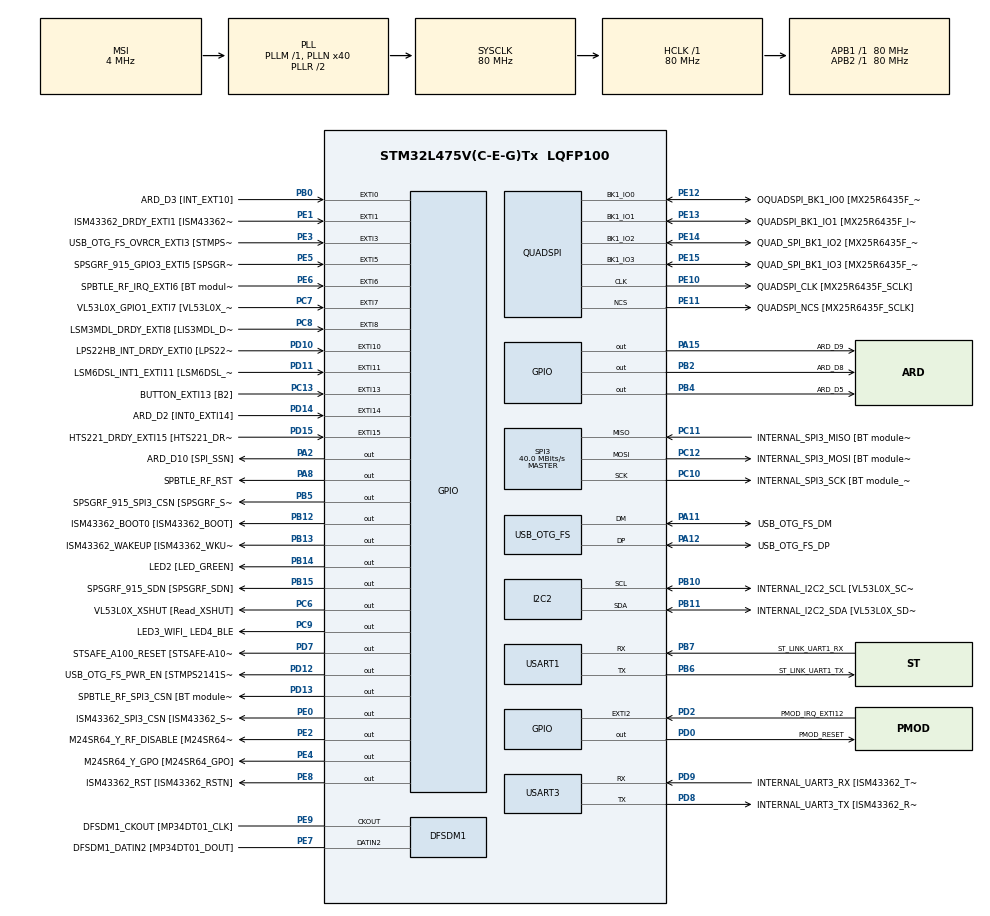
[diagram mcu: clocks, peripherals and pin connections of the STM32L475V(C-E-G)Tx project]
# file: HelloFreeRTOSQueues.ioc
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FREERTOS.Tasks01=defaultTask,0,128,StartDefaultTask,Default,NULL,Dynamic,NULL,NULL;myTask02,1,128,StartTask02,Default,NULL,Dynamic,NULL,NULL
Mcu.Family=STM32L4
Mcu.Name=STM32L475V(C-E-G)Tx
Mcu.Package=LQFP100
NVIC.EXTI15_10_IRQn=true\:5\:0\:false\:false\:true\:true\:true\:true
NVIC.EXTI9_5_IRQn=true\:5\:0\:false\:false\:true\:true\:true\:true
NVIC.PriorityGroup=NVIC_PRIORITYGROUP_4
PA0.GPIO_Label=ARD_D1 [UART4_TX]
PA0.Signal=UART4_TX
PA1.GPIO_Label=ARD_D0 [UART4_RX]
PA1.Signal=UART4_RX
PA10.GPIO_Label=USB_OTG_FS_ID
PA10.Signal=USB_OTG_FS_ID
PA11.GPIO_Label=USB_OTG_FS_DM
PA11.Mode=Device_Only
PA11.Signal=USB_OTG_FS_DM
PA12.GPIO_Label=USB_OTG_FS_DP
PA12.Mode=Device_Only
PA12.Signal=USB_OTG_FS_DP
PA13\ (JTMS-SWDIO).GPIO_Label=SYS_JTMS_SWDIO
PA13\ (JTMS-SWDIO).Mode=Serial_Wire
PA13\ (JTMS-SWDIO).Signal=SYS_JTMS-SWDIO
PA14\ (JTCK-SWCLK).GPIO_Label=SYS_JTCK_SWCLK
PA14\ (JTCK-SWCLK).Mode=Serial_Wire
PA14\ (JTCK-SWCLK).Signal=SYS_JTCK-SWCLK
PA15\ (JTDI).GPIO_Label=ARD_D9
PA15\ (JTDI).Signal=GPIO_Output
PA2.GPIO_Label=ARD_D10 [SPI_SSN]
PA2.Signal=GPIO_Output
PA3.GPIO_Label=ARD_D4
PA3.Signal=S_TIM2_CH4
PA4.GPIO_Label=ARD_D7
PA4.Signal=ADCx_IN9
PA5.GPIO_Label=ARD_D13 [SPI1_SCK]
PA5.Signal=SPI1_SCK
PA6.GPIO_Label=ARD_D12 [SPI1_MISO]
PA6.Signal=SPI1_MISO
PA7.GPIO_Label=ARD_D11 [SPI1_MOSI]
PA7.Signal=SPI1_MOSI
PA8.GPIO_Label=SPBTLE_RF_RST
PA8.Signal=GPIO_Output
PA9.GPIO_Label=USB_OTG_FS_VBUS [STMPS2141STR_OUT]
PA9.Signal=USB_OTG_FS_VBUS
PB0.GPIO_Label=ARD_D3 [INT_EXT10]
PB0.Signal=GPXTI0
PB1.GPIO_Label=ARD_D6 [ADC1_IN6]
PB1.Signal=ADCx_IN16
PB10.GPIO_Label=INTERNAL_I2C2_SCL [VL53L0X_SCL]
PB10.GPIO_Pu=GPIO_PULLUP
PB10.Mode=I2C
PB10.Signal=I2C2_SCL
PB11.GPIO_Label=INTERNAL_I2C2_SDA [VL53L0X_SDA]
PB11.GPIO_Pu=GPIO_PULLUP
PB11.Mode=I2C
PB11.Signal=I2C2_SDA
PB12.GPIO_Label=ISM43362_BOOT0 [ISM43362_BOOT]
PB12.Signal=GPIO_Output
PB13.GPIO_Label=ISM43362_WAKEUP [ISM43362_WKUP]
PB13.Signal=GPIO_Output
PB14.GPIO_Label=LED2 [LED_GREEN]
PB14.Signal=GPIO_Output
PB15.GPIO_Label=SPSGRF_915_SDN [SPSGRF_SDN]
PB15.Signal=GPIO_Output
PB2.GPIO_Label=ARD_D8
PB2.Signal=GPIO_Output
PB3\ (JTDO-TRACESWO).GPIO_Label=SYS_JTD0_SWO
PB3\ (JTDO-TRACESWO).Signal=SYS_JTDO-SWO
PB4\ (NJTRST).GPIO_Label=ARD_D5
PB4\ (NJTRST).Signal=GPIO_Output
PB5.GPIO_Label=SPSGRF_915_SPI3_CSN [SPSGRF_SPI_CS]
PB5.PinState=GPIO_PIN_SET
PB5.Signal=GPIO_Output
PB6.GPIO_Label=ST_LINK_UART1_TX
PB6.Mode=Asynchronous
PB6.Signal=USART1_TX
PB7.GPIO_Label=ST_LINK_UART1_RX
PB7.Mode=Asynchronous
PB7.Signal=USART1_RX
PB8.GPIO_Label=ARD_D15 [I2C1_SCL]
PB8.Signal=I2C1_SCL
PB9.GPIO_Label=ARD_D14 [I2C1_SDA]
PB9.Signal=I2C1_SDA
PC0.GPIO_Label=ARD_A5 [ADC]
PC0.Signal=ADCx_IN1
PC1.GPIO_Label=ARD_A4 [ADC]
PC1.Signal=ADCx_IN2
PC10.GPIO_Label=INTERNAL_SPI3_SCK [BT module_SPI_SCLK] [ISM43362_SCK]
PC10.Mode=Full_Duplex_Master
PC10.Signal=SPI3_SCK
PC11.GPIO_Label=INTERNAL_SPI3_MISO [BT module_SPI_MISO] [ISM43362_MISO]
PC11.Mode=Full_Duplex_Master
PC11.Signal=SPI3_MISO
PC12.GPIO_Label=INTERNAL_SPI3_MOSI [BT module_SPI_MOSI] [ISM43362_MOSI]
PC12.Mode=Full_Duplex_Master
PC12.Signal=SPI3_MOSI
PC13.GPIO_Label=BUTTON_EXTI13 [B2]
PC13.GPIO_ModeDefaultEXTI=GPIO_MODE_IT_FALLING
PC13.Signal=GPXTI13
PC14-OSC32_IN\ (PC14).Mode=LSE-External-Oscillator
PC14-OSC32_IN\ (PC14).Signal=RCC_OSC32_IN
PC15-OSC32_OUT\ (PC15).Mode=LSE-External-Oscillator
PC15-OSC32_OUT\ (PC15).Signal=RCC_OSC32_OUT
PC2.GPIO_Label=ARD_A3 [ADC]
PC2.Signal=ADCx_IN3
PC3.GPIO_Label=ARD_A2 [ADC]
PC3.Signal=ADCx_IN4
PC4.GPIO_Label=ARD_A1 [ADC]
PC4.Signal=ADCx_IN13
PC5.GPIO_Label=ARD_A0 [ADC]
PC5.Signal=ADCx_IN14
PC6.GPIO_Label=VL53L0X_XSHUT [Read_XSHUT]
PC6.Signal=GPIO_Output
PC7.GPIO_Label=VL53L0X_GPIO1_EXTI7 [VL53L0X_GPIO1]
PC7.Signal=GPXTI7
PC8.GPIO_Label=LSM3MDL_DRDY_EXTI8 [LIS3MDL_DRDY]
PC8.Signal=GPXTI8
PC9.GPIO_Label=LED3_WIFI_ LED4_BLE
PC9.Signal=GPIO_Output
PD0.GPIO_Label=PMOD_RESET
PD0.Signal=GPIO_Output
PD1.GPIO_Label=PMOD_SPI2_SCK
PD1.Signal=SPI2_SCK
PD10.GPIO_Label=LPS22HB_INT_DRDY_EXTI0 [LPS22HB_INT_DRDY] 
PD10.Signal=GPXTI10
PD11.GPIO_Label=LSM6DSL_INT1_EXTI11 [LSM6DSL_INT1]
PD11.Signal=GPXTI11
PD12.GPIO_Label=USB_OTG_FS_PWR_EN [STMPS2141STR_EN]
PD12.Signal=GPIO_Output
PD13.GPIO_Label=SPBTLE_RF_SPI3_CSN [BT module_SPI_CS]
PD13.PinState=GPIO_PIN_SET
PD13.Signal=GPIO_Output
PD14.GPIO_Label=ARD_D2 [INT0_EXTI14]
PD14.Signal=GPXTI14
PD15.GPIO_Label=HTS221_DRDY_EXTI15 [HTS221_DRDY]
PD15.Signal=GPXTI15
PD2.GPIO_Label=PMOD_IRQ_EXTI12
PD2.Signal=GPXTI2
PD3.GPIO_Label=PMOD_UART2_CTS
PD3.Signal=USART2_CTS
PD4.GPIO_Label=PMOD_UART2_RTS
PD4.Signal=USART2_RTS
PD5.GPIO_Label=PMOD_UART2_TX
PD5.Signal=USART2_TX
PD6.GPIO_Label=PMOD_UART2_RX
PD6.Signal=USART2_RX
PD7.GPIO_Label=STSAFE_A100_RESET [STSAFE-A100_RESET]
PD7.Signal=GPIO_Output
PD8.GPIO_Label=INTERNAL_UART3_TX [ISM43362_RX]
PD8.Mode=Asynchronous
PD8.Signal=USART3_TX
PD9.GPIO_Label=INTERNAL_UART3_RX [ISM43362_TX]
PD9.Mode=Asynchronous
PD9.Signal=USART3_RX
PE0.GPIO_Label=ISM43362_SPI3_CSN [ISM43362_SSN]
PE0.PinState=GPIO_PIN_SET
PE0.Signal=GPIO_Output
PE1.GPIO_Label=ISM43362_DRDY_EXTI1 [ISM43362_DATARDY]
PE1.Signal=GPXTI1
PE10.GPIO_Label=QUADSPI_CLK [MX25R6435F_SCLK]
PE10.Mode=Single Bank
PE10.Signal=QUADSPI_CLK
PE11.GPIO_Label=QUADSPI_NCS [MX25R6435F_SCLK]
PE11.Mode=Single Bank
PE11.Signal=QUADSPI_NCS
PE12.GPIO_Label=OQUADSPI_BK1_IO0 [MX25R6435F_IO0]
PE12.Mode=Single Bank
PE12.Signal=QUADSPI_BK1_IO0
PE13.GPIO_Label=QUADSPI_BK1_IO1 [MX25R6435F_IO1]
PE13.Mode=Single Bank
PE13.Signal=QUADSPI_BK1_IO1
PE14.GPIO_Label=QUAD_SPI_BK1_IO2 [MX25R6435F_IO2]
PE14.Mode=Single Bank
PE14.Signal=QUADSPI_BK1_IO2
PE15.GPIO_Label=QUAD_SPI_BK1_IO3 [MX25R6435F_IO3]
PE15.Mode=Single Bank
PE15.Signal=QUADSPI_BK1_IO3
PE2.GPIO_Label=M24SR64_Y_RF_DISABLE [M24SR64_RFDIS]
PE2.Signal=GPIO_Output
PE3.GPIO_Label=USB_OTG_FS_OVRCR_EXTI3 [STMPS2141STR_FAULT]
PE3.Signal=GPXTI3
PE4.GPIO_Label=M24SR64_Y_GPO [M24SR64_GPO]
PE4.Signal=GPIO_Output
PE5.GPIO_Label=SPSGRF_915_GPIO3_EXTI5 [SPSGRF_GPIO_3]
PE5.Signal=GPXTI5
PE6.GPIO_Label=SPBTLE_RF_IRQ_EXTI6 [BT module_SPI_IRQ]
PE6.Signal=GPXTI6
PE7.GPIO_Label=DFSDM1_DATIN2 [MP34DT01_DOUT]
PE7.Signal=S_DATAIN2DFSDM1
PE8.GPIO_Label=ISM43362_RST [ISM43362_RSTN]
PE8.Signal=GPIO_Output
PE9.GPIO_Label=DFSDM1_CKOUT [MP34DT01_CLK]
PE9.Signal=S_CKOUTDFSDM1
ProjectManager.HeapSize=0x200
ProjectManager.StackSize=0x400
ProjectManager.TargetToolchain=STM32CubeIDE
QUADSPI.ClockPrescaler=2
QUADSPI.FifoThreshold=4
QUADSPI.FlashSize=23
QUADSPI.SampleShifting=QSPI_SAMPLE_SHIFTING_HALFCYCLE
RCC.ADCFreq_Value=48000000
RCC.AHBFreq_Value=80000000
RCC.APB1Freq_Value=80000000
RCC.APB1TimFreq_Value=80000000
RCC.APB2Freq_Value=80000000
RCC.APB2TimFreq_Value=80000000
RCC.CortexFreq_Value=80000000
RCC.HCLKFreq_Value=80000000
RCC.HSE_VALUE=8000000
RCC.HSI_VALUE=16000000
RCC.MSI_VALUE=4000000
RCC.PLLN=40
RCC.PLLSAI1N=24
RCC.SYSCLKFreq_VALUE=80000000
RCC.SYSCLKSource=RCC_SYSCLKSOURCE_PLLCLK
RCC.USBFreq_Value=48000000
RCC.VCOOutputFreq_Value=160000000
SH.ADCx_IN1.0=ADC1_IN1
SH.ADCx_IN13.0=ADC1_IN13
SH.ADCx_IN14.0=ADC1_IN14
SH.ADCx_IN16.0=ADC1_IN16
SH.ADCx_IN2.0=ADC1_IN2
SH.ADCx_IN3.0=ADC1_IN3
SH.ADCx_IN4.0=ADC1_IN4
SH.ADCx_IN9.0=ADC1_IN9
SH.S_CKOUTDFSDM1.0=DFSDM1_CKOUT,CKOUT
SH.S_CKOUTDFSDM1.1=DFSDM1_CKOUT,PDM_SPI_Input_from_ch12_and_Internal_Clock
SH.S_DATAIN2DFSDM1.0=DFSDM1_DATIN2,PDM_SPI_Input_from_ch12_and_Internal_Clock
SH.S_TIM2_CH4.0=TIM2_CH4
SPI3.CalculateBaudRate=40.0 MBits/s
SPI3.Direction=SPI_DIRECTION_2LINES
SPI3.Mode=SPI_MODE_MASTER
SPI3.VirtualType=VM_MASTER
USART1.VirtualMode-Asynchronous=VM_ASYNC
USART3.VirtualMode-Asynchronous=VM_ASYNC
USB_OTG_FS.VirtualMode=Device_Only
VP_FREERTOS_VS_CMSIS_V1.Mode=CMSIS_V1
board=B-L475E-IOT01A1

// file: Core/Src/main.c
/* USER CODE BEGIN Header */
/**
 ******************************************************************************
 * @file           : main.c
 * @brief          : Main program body
 ******************************************************************************
 * @attention
 *
 * <h2><center>&copy; Copyright (c) 2021 STMicroelectronics.
 * All rights reserved.</center></h2>
 *
 * This software component is licensed by ST under BSD 3-Clause license,
 * the "License"; You may not use this file except in compliance with the
 * License. You may obtain a copy of the License at:
 *                        opensource.org/licenses/BSD-3-Clause
 *
 ******************************************************************************
 */
/* USER CODE END Header */
#include "main.h"
#include "cmsis_os.h"

/* USER CODE BEGIN Includes */
#include <string.h>
#include <stdio.h>
/* USER CODE END Includes */

DFSDM_Channel_HandleTypeDef hdfsdm1_channel1;

I2C_HandleTypeDef hi2c2;

QSPI_HandleTypeDef hqspi;

SPI_HandleTypeDef hspi3;

UART_HandleTypeDef huart1;
UART_HandleTypeDef huart3;

PCD_HandleTypeDef hpcd_USB_OTG_FS;

osThreadId defaultTaskHandle;
osThreadId myTask02Handle;
/* USER CODE BEGIN PV */

QueueHandle_t xQueue;

/* USER CODE END PV */

void SystemClock_Config(void);
static void MX_GPIO_Init(void);
static void MX_DFSDM1_Init(void);
static void MX_I2C2_Init(void);
static void MX_QUADSPI_Init(void);
static void MX_SPI3_Init(void);
static void MX_USART1_UART_Init(void);
static void MX_USART3_UART_Init(void);
static void MX_USB_OTG_FS_PCD_Init(void);
void StartDefaultTask(void const *argument);
void StartTask02(void const *argument);

int main(void) {

    /* MCU Configuration--------------------------------------------------------*/

    /* Reset of all peripherals, Initializes the Flash interface and the Systick. */
    HAL_Init();

    /* Configure the system clock */
    SystemClock_Config();

    /* Initialize all configured peripherals */
    MX_GPIO_Init();
    MX_DFSDM1_Init();
    MX_I2C2_Init();
    MX_QUADSPI_Init();
    MX_SPI3_Init();
    MX_USART1_UART_Init();
    MX_USART3_UART_Init();
    MX_USB_OTG_FS_PCD_Init();

    /* USER CODE BEGIN RTOS_QUEUES */
    /* add queues, ... */

    xQueue = xQueueCreate(5, sizeof(uint32_t));

    /* USER CODE END RTOS_QUEUES */

    /* Create the thread(s) */
    /* definition and creation of defaultTask */
    osThreadDef(defaultTask, StartDefaultTask, osPriorityNormal, 0, 128);
    defaultTaskHandle = osThreadCreate(osThread(defaultTask), NULL);

    /* definition and creation of myTask02 */
    osThreadDef(myTask02, StartTask02, osPriorityAboveNormal, 0, 128);
    myTask02Handle = osThreadCreate(osThread(myTask02), NULL);

    /* Start scheduler */
    osKernelStart();

    /* We should never get here as control is now taken by the scheduler */
    /* Infinite loop */
    while (1) {

    }
}

void SystemClock_Config(void) {
    RCC_OscInitTypeDef RCC_OscInitStruct = { 0 };
    RCC_ClkInitTypeDef RCC_ClkInitStruct = { 0 };

    /** Configure the main internal regulator output voltage
     */
    if (HAL_PWREx_ControlVoltageScaling(PWR_REGULATOR_VOLTAGE_SCALE1) != HAL_OK) {
        Error_Handler();
    }
    /** Configure LSE Drive Capability
     */
    HAL_PWR_EnableBkUpAccess();
    __HAL_RCC_LSEDRIVE_CONFIG(RCC_LSEDRIVE_LOW);
    /** Initializes the RCC Oscillators according to the specified parameters
     * in the RCC_OscInitTypeDef structure.
     */
    RCC_OscInitStruct.OscillatorType = RCC_OSCILLATORTYPE_LSE | RCC_OSCILLATORTYPE_MSI;
    RCC_OscInitStruct.LSEState = RCC_LSE_ON;
    RCC_OscInitStruct.MSIState = RCC_MSI_ON;
    RCC_OscInitStruct.MSICalibrationValue = 0;
    RCC_OscInitStruct.MSIClockRange = RCC_MSIRANGE_6;
    RCC_OscInitStruct.PLL.PLLState = RCC_PLL_ON;
    RCC_OscInitStruct.PLL.PLLSource = RCC_PLLSOURCE_MSI;
    RCC_OscInitStruct.PLL.PLLM = 1;
    RCC_OscInitStruct.PLL.PLLN = 40;
    RCC_OscInitStruct.PLL.PLLP = RCC_PLLP_DIV7;
    RCC_OscInitStruct.PLL.PLLQ = RCC_PLLQ_DIV2;
    RCC_OscInitStruct.PLL.PLLR = RCC_PLLR_DIV2;
    if (HAL_RCC_OscConfig(&RCC_OscInitStruct) != HAL_OK) {
        Error_Handler();
    }
    /** Initializes the CPU, AHB and APB buses clocks
     */
    RCC_ClkInitStruct.ClockType = RCC_CLOCKTYPE_HCLK | RCC_CLOCKTYPE_SYSCLK | RCC_CLOCKTYPE_PCLK1 | RCC_CLOCKTYPE_PCLK2;
    RCC_ClkInitStruct.SYSCLKSource = RCC_SYSCLKSOURCE_PLLCLK;
    RCC_ClkInitStruct.AHBCLKDivider = RCC_SYSCLK_DIV1;
    RCC_ClkInitStruct.APB1CLKDivider = RCC_HCLK_DIV1;
    RCC_ClkInitStruct.APB2CLKDivider = RCC_HCLK_DIV1;

    if (HAL_RCC_ClockConfig(&RCC_ClkInitStruct, FLASH_LATENCY_4) != HAL_OK) {
        Error_Handler();
    }
    /** Enable MSI Auto calibration
     */
    HAL_RCCEx_EnableMSIPLLMode();
}

static void MX_DFSDM1_Init(void) {

    hdfsdm1_channel1.Instance = DFSDM1_Channel1;
    hdfsdm1_channel1.Init.OutputClock.Activation = ENABLE;
    hdfsdm1_channel1.Init.OutputClock.Selection = DFSDM_CHANNEL_OUTPUT_CLOCK_SYSTEM;
    hdfsdm1_channel1.Init.OutputClock.Divider = 2;
    hdfsdm1_channel1.Init.Input.Multiplexer = DFSDM_CHANNEL_EXTERNAL_INPUTS;
    hdfsdm1_channel1.Init.Input.DataPacking = DFSDM_CHANNEL_STANDARD_MODE;
    hdfsdm1_channel1.Init.Input.Pins = DFSDM_CHANNEL_FOLLOWING_CHANNEL_PINS;
    hdfsdm1_channel1.Init.SerialInterface.Type = DFSDM_CHANNEL_SPI_RISING;
    hdfsdm1_channel1.Init.SerialInterface.SpiClock = DFSDM_CHANNEL_SPI_CLOCK_INTERNAL;
    hdfsdm1_channel1.Init.Awd.FilterOrder = DFSDM_CHANNEL_FASTSINC_ORDER;
    hdfsdm1_channel1.Init.Awd.Oversampling = 1;
    hdfsdm1_channel1.Init.Offset = 0;
    hdfsdm1_channel1.Init.RightBitShift = 0x00;
    if (HAL_DFSDM_ChannelInit(&hdfsdm1_channel1) != HAL_OK) {
        Error_Handler();
    }

}

static void MX_I2C2_Init(void) {

    hi2c2.Instance = I2C2;
    hi2c2.Init.Timing = 0x00000E14;
    hi2c2.Init.OwnAddress1 = 0;
    hi2c2.Init.AddressingMode = I2C_ADDRESSINGMODE_7BIT;
    hi2c2.Init.DualAddressMode = I2C_DUALADDRESS_DISABLE;
    hi2c2.Init.OwnAddress2 = 0;
    hi2c2.Init.OwnAddress2Masks = I2C_OA2_NOMASK;
    hi2c2.Init.GeneralCallMode = I2C_GENERALCALL_DISABLE;
    hi2c2.Init.NoStretchMode = I2C_NOSTRETCH_DISABLE;
    if (HAL_I2C_Init(&hi2c2) != HAL_OK) {
        Error_Handler();
    }
    /** Configure Analogue filter
     */
    if (HAL_I2CEx_ConfigAnalogFilter(&hi2c2, I2C_ANALOGFILTER_ENABLE) != HAL_OK) {
        Error_Handler();
    }
    /** Configure Digital filter
     */
    if (HAL_I2CEx_ConfigDigitalFilter(&hi2c2, 0) != HAL_OK) {
        Error_Handler();
    }

}

static void MX_QUADSPI_Init(void) {

    /* QUADSPI parameter configuration*/
    hqspi.Instance = QUADSPI;
    hqspi.Init.ClockPrescaler = 2;
    hqspi.Init.FifoThreshold = 4;
    hqspi.Init.SampleShifting = QSPI_SAMPLE_SHIFTING_HALFCYCLE;
    hqspi.Init.FlashSize = 23;
    hqspi.Init.ChipSelectHighTime = QSPI_CS_HIGH_TIME_1_CYCLE;
    hqspi.Init.ClockMode = QSPI_CLOCK_MODE_0;
    if (HAL_QSPI_Init(&hqspi) != HAL_OK) {
        Error_Handler();
    }

}

static void MX_SPI3_Init(void) {

    /* SPI3 parameter configuration*/
    hspi3.Instance = SPI3;
    hspi3.Init.Mode = SPI_MODE_MASTER;
    hspi3.Init.Direction = SPI_DIRECTION_2LINES;
    hspi3.Init.DataSize = SPI_DATASIZE_4BIT;
    hspi3.Init.CLKPolarity = SPI_POLARITY_LOW;
    hspi3.Init.CLKPhase = SPI_PHASE_1EDGE;
    hspi3.Init.NSS = SPI_NSS_SOFT;
    hspi3.Init.BaudRatePrescaler = SPI_BAUDRATEPRESCALER_2;
    hspi3.Init.FirstBit = SPI_FIRSTBIT_MSB;
    hspi3.Init.TIMode = SPI_TIMODE_DISABLE;
    hspi3.Init.CRCCalculation = SPI_CRCCALCULATION_DISABLE;
    hspi3.Init.CRCPolynomial = 7;
    hspi3.Init.CRCLength = SPI_CRC_LENGTH_DATASIZE;
    hspi3.Init.NSSPMode = SPI_NSS_PULSE_ENABLE;
    if (HAL_SPI_Init(&hspi3) != HAL_OK) {
        Error_Handler();
    }

}

static void MX_USART1_UART_Init(void) {

    huart1.Instance = USART1;
    huart1.Init.BaudRate = 115200;
    huart1.Init.WordLength = UART_WORDLENGTH_8B;
    huart1.Init.StopBits = UART_STOPBITS_1;
    huart1.Init.Parity = UART_PARITY_NONE;
    huart1.Init.Mode = UART_MODE_TX_RX;
    huart1.Init.HwFlowCtl = UART_HWCONTROL_NONE;
    huart1.Init.OverSampling = UART_OVERSAMPLING_16;
    huart1.Init.OneBitSampling = UART_ONE_BIT_SAMPLE_DISABLE;
    huart1.AdvancedInit.AdvFeatureInit = UART_ADVFEATURE_NO_INIT;
    if (HAL_UART_Init(&huart1) != HAL_OK) {
        Error_Handler();
    }

}

static void MX_USART3_UART_Init(void) {

    huart3.Instance = USART3;
    huart3.Init.BaudRate = 115200;
    huart3.Init.WordLength = UART_WORDLENGTH_8B;
    huart3.Init.StopBits = UART_STOPBITS_1;
    huart3.Init.Parity = UART_PARITY_NONE;
    huart3.Init.Mode = UART_MODE_TX_RX;
    huart3.Init.HwFlowCtl = UART_HWCONTROL_NONE;
    huart3.Init.OverSampling = UART_OVERSAMPLING_16;
    huart3.Init.OneBitSampling = UART_ONE_BIT_SAMPLE_DISABLE;
    huart3.AdvancedInit.AdvFeatureInit = UART_ADVFEATURE_NO_INIT;
    if (HAL_UART_Init(&huart3) != HAL_OK) {
        Error_Handler();
    }

}

static void MX_USB_OTG_FS_PCD_Init(void) {

    hpcd_USB_OTG_FS.Instance = USB_OTG_FS;
    hpcd_USB_OTG_FS.Init.dev_endpoints = 6;
    hpcd_USB_OTG_FS.Init.speed = PCD_SPEED_FULL;
    hpcd_USB_OTG_FS.Init.phy_itface = PCD_PHY_EMBEDDED;
    hpcd_USB_OTG_FS.Init.Sof_enable = DISABLE;
    hpcd_USB_OTG_FS.Init.low_power_enable = DISABLE;
    hpcd_USB_OTG_FS.Init.lpm_enable = DISABLE;
    hpcd_USB_OTG_FS.Init.battery_charging_enable = DISABLE;
    hpcd_USB_OTG_FS.Init.use_dedicated_ep1 = DISABLE;
    hpcd_USB_OTG_FS.Init.vbus_sensing_enable = DISABLE;
    if (HAL_PCD_Init(&hpcd_USB_OTG_FS) != HAL_OK) {
        Error_Handler();
    }

}

static void MX_GPIO_Init(void) {
    GPIO_InitTypeDef GPIO_InitStruct = { 0 };

    /* GPIO Ports Clock Enable */
    __HAL_RCC_GPIOE_CLK_ENABLE();
    __HAL_RCC_GPIOC_CLK_ENABLE();
    __HAL_RCC_GPIOA_CLK_ENABLE();
    __HAL_RCC_GPIOB_CLK_ENABLE();
    __HAL_RCC_GPIOD_CLK_ENABLE();

    /*Configure GPIO pin Output Level */
    HAL_GPIO_WritePin(GPIOE, M24SR64_Y_RF_DISABLE_Pin | M24SR64_Y_GPO_Pin | ISM43362_RST_Pin, GPIO_PIN_RESET);

    /*Configure GPIO pin Output Level */
    HAL_GPIO_WritePin(GPIOA, ARD_D10_Pin | SPBTLE_RF_RST_Pin | ARD_D9_Pin, GPIO_PIN_RESET);

    /*Configure GPIO pin Output Level */
    HAL_GPIO_WritePin(GPIOB,
    ARD_D8_Pin | ISM43362_BOOT0_Pin | ISM43362_WAKEUP_Pin | LED2_Pin | SPSGRF_915_SDN_Pin | ARD_D5_Pin, GPIO_PIN_RESET);

    /*Configure GPIO pin Output Level */
    HAL_GPIO_WritePin(GPIOD, USB_OTG_FS_PWR_EN_Pin | PMOD_RESET_Pin | STSAFE_A100_RESET_Pin, GPIO_PIN_RESET);

    /*Configure GPIO pin Output Level */
    HAL_GPIO_WritePin(SPBTLE_RF_SPI3_CSN_GPIO_Port, SPBTLE_RF_SPI3_CSN_Pin, GPIO_PIN_SET);

    /*Configure GPIO pin Output Level */
    HAL_GPIO_WritePin(GPIOC, VL53L0X_XSHUT_Pin | LED3_WIFI__LED4_BLE_Pin, GPIO_PIN_RESET);

    /*Configure GPIO pin Output Level */
    HAL_GPIO_WritePin(SPSGRF_915_SPI3_CSN_GPIO_Port, SPSGRF_915_SPI3_CSN_Pin, GPIO_PIN_SET);

    /*Configure GPIO pin Output Level */
    HAL_GPIO_WritePin(ISM43362_SPI3_CSN_GPIO_Port, ISM43362_SPI3_CSN_Pin, GPIO_PIN_SET);

    /*Configure GPIO pins : M24SR64_Y_RF_DISABLE_Pin M24SR64_Y_GPO_Pin ISM43362_RST_Pin ISM43362_SPI3_CSN_Pin */
    GPIO_InitStruct.Pin = M24SR64_Y_RF_DISABLE_Pin | M24SR64_Y_GPO_Pin | ISM43362_RST_Pin | ISM43362_SPI3_CSN_Pin;
    GPIO_InitStruct.Mode = GPIO_MODE_OUTPUT_PP;
    GPIO_InitStruct.Pull = GPIO_NOPULL;
    GPIO_InitStruct.Speed = GPIO_SPEED_FREQ_LOW;
    HAL_GPIO_Init(GPIOE, &GPIO_InitStruct);

    /*Configure GPIO pins : USB_OTG_FS_OVRCR_EXTI3_Pin SPSGRF_915_GPIO3_EXTI5_Pin SPBTLE_RF_IRQ_EXTI6_Pin ISM43362_DRDY_EXTI1_Pin */
    GPIO_InitStruct.Pin = USB_OTG_FS_OVRCR_EXTI3_Pin | SPSGRF_915_GPIO3_EXTI5_Pin | SPBTLE_RF_IRQ_EXTI6_Pin
            | ISM43362_DRDY_EXTI1_Pin;
    GPIO_InitStruct.Mode = GPIO_MODE_IT_RISING;
    GPIO_InitStruct.Pull = GPIO_NOPULL;
    HAL_GPIO_Init(GPIOE, &GPIO_InitStruct);

    /*Configure GPIO pin : BUTTON_EXTI13_Pin */
    GPIO_InitStruct.Pin = BUTTON_EXTI13_Pin;
    GPIO_InitStruct.Mode = GPIO_MODE_IT_FALLING;
    GPIO_InitStruct.Pull = GPIO_NOPULL;
    HAL_GPIO_Init(BUTTON_EXTI13_GPIO_Port, &GPIO_InitStruct);

    /*Configure GPIO pins : ARD_A5_Pin ARD_A4_Pin ARD_A3_Pin ARD_A2_Pin
     ARD_A1_Pin ARD_A0_Pin */
    GPIO_InitStruct.Pin = ARD_A5_Pin | ARD_A4_Pin | ARD_A3_Pin | ARD_A2_Pin | ARD_A1_Pin | ARD_A0_Pin;
    GPIO_InitStruct.Mode = GPIO_MODE_ANALOG_ADC_CONTROL;
    GPIO_InitStruct.Pull = GPIO_NOPULL;
    HAL_GPIO_Init(GPIOC, &GPIO_InitStruct);

    /*Configure GPIO pins : ARD_D1_Pin ARD_D0_Pin */
    GPIO_InitStruct.Pin = ARD_D1_Pin | ARD_D0_Pin;
    GPIO_InitStruct.Mode = GPIO_MODE_AF_PP;
    GPIO_InitStruct.Pull = GPIO_NOPULL;
    GPIO_InitStruct.Speed = GPIO_SPEED_FREQ_VERY_HIGH;
    GPIO_InitStruct.Alternate = GPIO_AF8_UART4;
    HAL_GPIO_Init(GPIOA, &GPIO_InitStruct);

    /*Configure GPIO pins : ARD_D10_Pin SPBTLE_RF_RST_Pin ARD_D9_Pin */
    GPIO_InitStruct.Pin = ARD_D10_Pin | SPBTLE_RF_RST_Pin | ARD_D9_Pin;
    GPIO_InitStruct.Mode = GPIO_MODE_OUTPUT_PP;
    GPIO_InitStruct.Pull = GPIO_NOPULL;
    GPIO_InitStruct.Speed = GPIO_SPEED_FREQ_LOW;
    HAL_GPIO_Init(GPIOA, &GPIO_InitStruct);

    /*Configure GPIO pin : ARD_D4_Pin */
    GPIO_InitStruct.Pin = ARD_D4_Pin;
    GPIO_InitStruct.Mode = GPIO_MODE_AF_PP;
    GPIO_InitStruct.Pull = GPIO_NOPULL;
    GPIO_InitStruct.Speed = GPIO_SPEED_FREQ_LOW;
    GPIO_InitStruct.Alternate = GPIO_AF1_TIM2;
    HAL_GPIO_Init(ARD_D4_GPIO_Port, &GPIO_InitStruct);

    /*Configure GPIO pin : ARD_D7_Pin */
    GPIO_InitStruct.Pin = ARD_D7_Pin;
    GPIO_InitStruct.Mode = GPIO_MODE_ANALOG_ADC_CONTROL;
    GPIO_InitStruct.Pull = GPIO_NOPULL;
    HAL_GPIO_Init(ARD_D7_GPIO_Port, &GPIO_InitStruct);

    /*Configure GPIO pins : ARD_D13_Pin ARD_D12_Pin ARD_D11_Pin */
    GPIO_InitStruct.Pin = ARD_D13_Pin | ARD_D12_Pin | ARD_D11_Pin;
    GPIO_InitStruct.Mode = GPIO_MODE_AF_PP;
    GPIO_InitStruct.Pull = GPIO_NOPULL;
    GPIO_InitStruct.Speed = GPIO_SPEED_FREQ_VERY_HIGH;
    GPIO_InitStruct.Alternate = GPIO_AF5_SPI1;
    HAL_GPIO_Init(GPIOA, &GPIO_InitStruct);

    /*Configure GPIO pin : ARD_D3_Pin */
    GPIO_InitStruct.Pin = ARD_D3_Pin;
    GPIO_InitStruct.Mode = GPIO_MODE_IT_RISING;
    GPIO_InitStruct.Pull = GPIO_NOPULL;
    HAL_GPIO_Init(ARD_D3_GPIO_Port, &GPIO_InitStruct);

    /*Configure GPIO pin : ARD_D6_Pin */
    GPIO_InitStruct.Pin = ARD_D6_Pin;
    GPIO_InitStruct.Mode = GPIO_MODE_ANALOG_ADC_CONTROL;
    GPIO_InitStruct.Pull = GPIO_NOPULL;
    HAL_GPIO_Init(ARD_D6_GPIO_Port, &GPIO_InitStruct);

    /*Configure GPIO pins : ARD_D8_Pin ISM43362_BOOT0_Pin ISM43362_WAKEUP_Pin LED2_Pin
     SPSGRF_915_SDN_Pin ARD_D5_Pin SPSGRF_915_SPI3_CSN_Pin */
    GPIO_InitStruct.Pin = ARD_D8_Pin | ISM43362_BOOT0_Pin | ISM43362_WAKEUP_Pin | LED2_Pin | SPSGRF_915_SDN_Pin
            | ARD_D5_Pin | SPSGRF_915_SPI3_CSN_Pin;
    GPIO_InitStruct.Mode = GPIO_MODE_OUTPUT_PP;
    GPIO_InitStruct.Pull = GPIO_NOPULL;
    GPIO_InitStruct.Speed = GPIO_SPEED_FREQ_LOW;
    HAL_GPIO_Init(GPIOB, &GPIO_InitStruct);

    /*Configure GPIO pins : LPS22HB_INT_DRDY_EXTI0_Pin LSM6DSL_INT1_EXTI11_Pin ARD_D2_Pin HTS221_DRDY_EXTI15_Pin
     PMOD_IRQ_EXTI12_Pin */
    GPIO_InitStruct.Pin = LPS22HB_INT_DRDY_EXTI0_Pin | LSM6DSL_INT1_EXTI11_Pin | ARD_D2_Pin | HTS221_DRDY_EXTI15_Pin
            | PMOD_IRQ_EXTI12_Pin;
    GPIO_InitStruct.Mode = GPIO_MODE_IT_RISING;
    GPIO_InitStruct.Pull = GPIO_NOPULL;
    HAL_GPIO_Init(GPIOD, &GPIO_InitStruct);

    /*Configure GPIO pins : USB_OTG_FS_PWR_EN_Pin SPBTLE_RF_SPI3_CSN_Pin PMOD_RESET_Pin STSAFE_A100_RESET_Pin */
    GPIO_InitStruct.Pin = USB_OTG_FS_PWR_EN_Pin | SPBTLE_RF_SPI3_CSN_Pin | PMOD_RESET_Pin | STSAFE_A100_RESET_Pin;
    GPIO_InitStruct.Mode = GPIO_MODE_OUTPUT_PP;
    GPIO_InitStruct.Pull = GPIO_NOPULL;
    GPIO_InitStruct.Speed = GPIO_SPEED_FREQ_LOW;
    HAL_GPIO_Init(GPIOD, &GPIO_InitStruct);

    /*Configure GPIO pins : VL53L0X_XSHUT_Pin LED3_WIFI__LED4_BLE_Pin */
    GPIO_InitStruct.Pin = VL53L0X_XSHUT_Pin | LED3_WIFI__LED4_BLE_Pin;
    GPIO_InitStruct.Mode = GPIO_MODE_OUTPUT_PP;
    GPIO_InitStruct.Pull = GPIO_NOPULL;
    GPIO_InitStruct.Speed = GPIO_SPEED_FREQ_LOW;
    HAL_GPIO_Init(GPIOC, &GPIO_InitStruct);

    /*Configure GPIO pins : VL53L0X_GPIO1_EXTI7_Pin LSM3MDL_DRDY_EXTI8_Pin */
    GPIO_InitStruct.Pin = VL53L0X_GPIO1_EXTI7_Pin | LSM3MDL_DRDY_EXTI8_Pin;
    GPIO_InitStruct.Mode = GPIO_MODE_IT_RISING;
    GPIO_InitStruct.Pull = GPIO_NOPULL;
    HAL_GPIO_Init(GPIOC, &GPIO_InitStruct);

    /*Configure GPIO pin : PMOD_SPI2_SCK_Pin */
    GPIO_InitStruct.Pin = PMOD_SPI2_SCK_Pin;
    GPIO_InitStruct.Mode = GPIO_MODE_AF_PP;
    GPIO_InitStruct.Pull = GPIO_NOPULL;
    GPIO_InitStruct.Speed = GPIO_SPEED_FREQ_VERY_HIGH;
    GPIO_InitStruct.Alternate = GPIO_AF5_SPI2;
    HAL_GPIO_Init(PMOD_SPI2_SCK_GPIO_Port, &GPIO_InitStruct);

    /*Configure GPIO pins : PMOD_UART2_CTS_Pin PMOD_UART2_RTS_Pin PMOD_UART2_TX_Pin PMOD_UART2_RX_Pin */
    GPIO_InitStruct.Pin = PMOD_UART2_CTS_Pin | PMOD_UART2_RTS_Pin | PMOD_UART2_TX_Pin | PMOD_UART2_RX_Pin;
    GPIO_InitStruct.Mode = GPIO_MODE_AF_PP;
    GPIO_InitStruct.Pull = GPIO_NOPULL;
    GPIO_InitStruct.Speed = GPIO_SPEED_FREQ_VERY_HIGH;
    GPIO_InitStruct.Alternate = GPIO_AF7_USART2;
    HAL_GPIO_Init(GPIOD, &GPIO_InitStruct);

    /*Configure GPIO pins : ARD_D15_Pin ARD_D14_Pin */
    GPIO_InitStruct.Pin = ARD_D15_Pin | ARD_D14_Pin;
    GPIO_InitStruct.Mode = GPIO_MODE_AF_OD;
    GPIO_InitStruct.Pull = GPIO_NOPULL;
    GPIO_InitStruct.Speed = GPIO_SPEED_FREQ_VERY_HIGH;
    GPIO_InitStruct.Alternate = GPIO_AF4_I2C1;
    HAL_GPIO_Init(GPIOB, &GPIO_InitStruct);

    /* EXTI interrupt init*/
    HAL_NVIC_SetPriority(EXTI9_5_IRQn, 5, 0);
    HAL_NVIC_EnableIRQ(EXTI9_5_IRQn);

    HAL_NVIC_SetPriority(EXTI15_10_IRQn, 5, 0);
    HAL_NVIC_EnableIRQ(EXTI15_10_IRQn);

}

void StartDefaultTask(void const *argument) {
    /* USER CODE BEGIN 5 */

    static uint32_t count = 0;
    BaseType_t xStatus;

    /* Infinite loop */
    for (;;) {
        xStatus = xQueueSend(xQueue, &count, portMAX_DELAY);

        if (xStatus != pdPASS) {
            char *buff = "Could not send to queue\r\n";

            HAL_UART_Transmit(&huart1, (uint8_t*) buff, strlen(buff), HAL_MAX_DELAY);
        }

        count++;
        vTaskDelay(pdMS_TO_TICKS(2000));
    }
    /* USER CODE END 5 */
}

void StartTask02(void const *argument) {
    /* USER CODE BEGIN StartTask02 */

    uint32_t count;
    BaseType_t xStatus;

    /* Infinite loop */
    for (;;) {
        xStatus = xQueueReceive(xQueue, &count, portMAX_DELAY);

        if (xStatus) {
            char buff[100];

            snprintf(buff, sizeof(buff), "Count: %lu\r\n", count);
            HAL_UART_Transmit(&huart1, (uint8_t*) buff, strlen(buff), HAL_MAX_DELAY);
        }

        vTaskDelay(pdMS_TO_TICKS(1000));
    }
    /* USER CODE END StartTask02 */
}

void Error_Handler(void) {
    __disable_irq();
    while (1) {
    }
}

/************************ (C) COPYRIGHT STMicroelectronics *****END OF FILE****/
